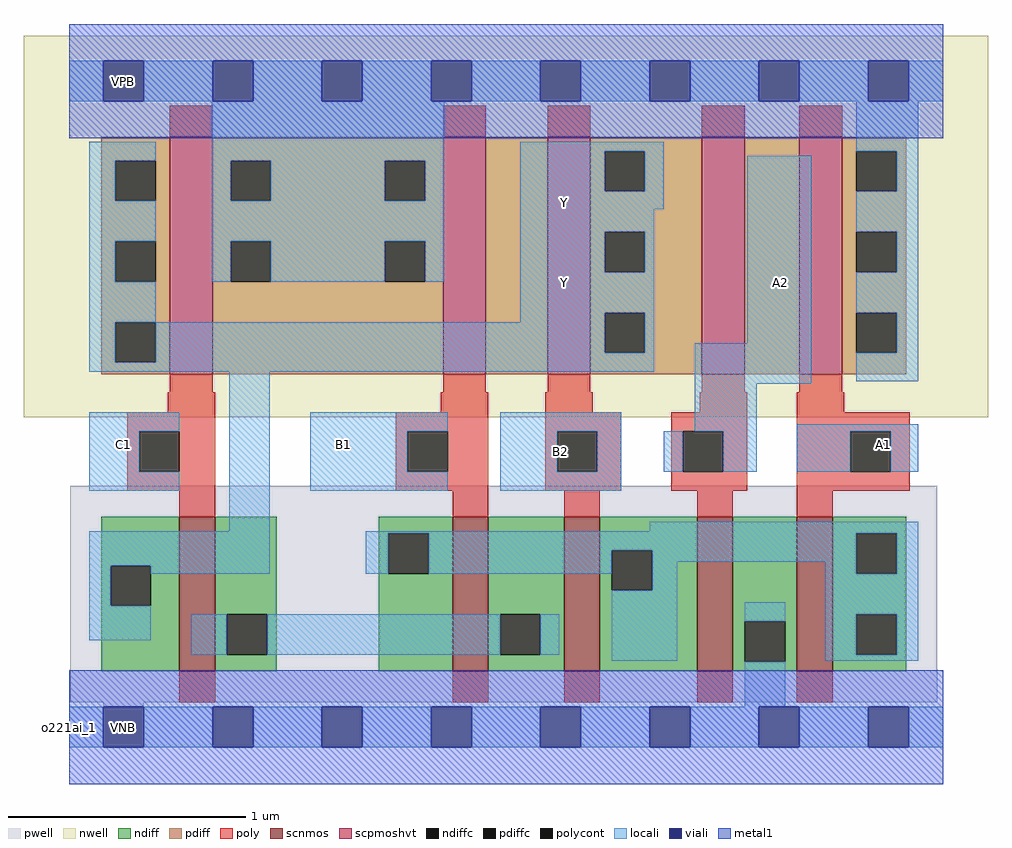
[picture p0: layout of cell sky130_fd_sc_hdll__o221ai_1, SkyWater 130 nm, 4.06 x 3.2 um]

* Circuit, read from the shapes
.subckt sky130_fd_sc_hdll__o221ai_1 A1 A2 B1 B2 C1 VGND VNB VPB VPWR Y
XM1 n1 C1 Y VNB sky130_fd_pr__nfet_01v8 w=0.65 l=0.15
XM2 n1 B1 n2 VNB sky130_fd_pr__nfet_01v8 w=0.65 l=0.15
XM3 n2 B2 n1 VNB sky130_fd_pr__nfet_01v8 w=0.65 l=0.15
XM4 VGND A2 n2 VNB sky130_fd_pr__nfet_01v8 w=0.65 l=0.15
XM5 n2 A1 VGND VNB sky130_fd_pr__nfet_01v8 w=0.65 l=0.15
XM6 VPWR C1 Y VPB sky130_fd_pr__pfet_01v8_hvt w=1 l=0.18
XM7 n3 B1 VPWR VPB sky130_fd_pr__pfet_01v8_hvt w=1 l=0.18
XM8 Y B2 n3 VPB sky130_fd_pr__pfet_01v8_hvt w=1 l=0.18
XM9 n4 A2 Y VPB sky130_fd_pr__pfet_01v8_hvt w=1 l=0.18
XM10 VPWR A1 n4 VPB sky130_fd_pr__pfet_01v8_hvt w=1 l=0.18
.ends

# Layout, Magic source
magic
tech sky130A
magscale 1 2
<< nwell >>
rect -38 261 774 582
<< pwell >>
rect 1 21 731 203
rect 29 -17 63 21
<< scnmos >>
rect 93 47 123 177
rect 323 47 353 177
rect 417 47 447 177
rect 529 47 559 177
rect 613 47 643 177
<< scpmoshvt >>
rect 85 297 121 497
rect 315 297 351 497
rect 403 297 439 497
rect 533 297 569 497
rect 615 297 651 497
<< ndiff >>
rect 27 136 93 177
rect 27 102 35 136
rect 69 102 93 136
rect 27 47 93 102
rect 123 95 175 177
rect 123 61 133 95
rect 167 61 175 95
rect 123 47 175 61
rect 261 163 323 177
rect 261 129 269 163
rect 303 129 323 163
rect 261 47 323 129
rect 353 95 417 177
rect 353 61 363 95
rect 397 61 417 95
rect 353 47 417 61
rect 447 149 529 177
rect 447 115 457 149
rect 491 115 529 149
rect 447 47 529 115
rect 559 89 613 177
rect 559 55 569 89
rect 603 55 613 89
rect 559 47 613 55
rect 643 163 705 177
rect 643 129 663 163
rect 697 129 705 163
rect 643 95 705 129
rect 643 61 663 95
rect 697 61 705 95
rect 643 47 705 61
<< pdiff >>
rect 27 477 85 497
rect 27 443 39 477
rect 73 443 85 477
rect 27 409 85 443
rect 27 375 39 409
rect 73 375 85 409
rect 27 341 85 375
rect 27 307 39 341
rect 73 307 85 341
rect 27 297 85 307
rect 121 477 315 497
rect 121 443 136 477
rect 170 443 266 477
rect 300 443 315 477
rect 121 409 315 443
rect 121 375 136 409
rect 170 375 266 409
rect 300 375 315 409
rect 121 297 315 375
rect 351 297 403 497
rect 439 485 533 497
rect 439 451 451 485
rect 485 451 533 485
rect 439 417 533 451
rect 439 383 451 417
rect 485 383 533 417
rect 439 349 533 383
rect 439 315 451 349
rect 485 315 533 349
rect 439 297 533 315
rect 569 297 615 497
rect 651 485 705 497
rect 651 451 663 485
rect 697 451 705 485
rect 651 417 705 451
rect 651 383 663 417
rect 697 383 705 417
rect 651 349 705 383
rect 651 315 663 349
rect 697 315 705 349
rect 651 297 705 315
<< ndiffc >>
rect 35 102 69 136
rect 133 61 167 95
rect 269 129 303 163
rect 363 61 397 95
rect 457 115 491 149
rect 569 55 603 89
rect 663 129 697 163
rect 663 61 697 95
<< pdiffc >>
rect 39 443 73 477
rect 39 375 73 409
rect 39 307 73 341
rect 136 443 170 477
rect 266 443 300 477
rect 136 375 170 409
rect 266 375 300 409
rect 451 451 485 485
rect 451 383 485 417
rect 451 315 485 349
rect 663 451 697 485
rect 663 383 697 417
rect 663 315 697 349
<< poly >>
rect 85 497 121 523
rect 315 497 351 523
rect 403 497 439 523
rect 533 497 569 523
rect 615 497 651 523
rect 85 282 121 297
rect 315 282 351 297
rect 403 282 439 297
rect 533 282 569 297
rect 615 282 651 297
rect 83 265 123 282
rect 313 265 353 282
rect 49 249 123 265
rect 49 215 59 249
rect 93 215 123 249
rect 49 199 123 215
rect 275 249 353 265
rect 275 215 285 249
rect 319 215 353 249
rect 275 199 353 215
rect 401 265 441 282
rect 531 265 571 282
rect 401 249 465 265
rect 401 215 411 249
rect 445 215 465 249
rect 401 199 465 215
rect 507 249 571 265
rect 507 215 517 249
rect 551 215 571 249
rect 507 199 571 215
rect 613 265 653 282
rect 613 249 708 265
rect 613 215 658 249
rect 692 215 708 249
rect 613 199 708 215
rect 93 177 123 199
rect 323 177 353 199
rect 417 177 447 199
rect 529 177 559 199
rect 613 177 643 199
rect 93 21 123 47
rect 323 21 353 47
rect 417 21 447 47
rect 529 21 559 47
rect 613 21 643 47
<< polycont >>
rect 59 215 93 249
rect 285 215 319 249
rect 411 215 445 249
rect 517 215 551 249
rect 658 215 692 249
<< locali >>
rect 0 527 29 561
rect 63 527 121 561
rect 155 527 213 561
rect 247 527 305 561
rect 339 527 397 561
rect 431 527 489 561
rect 523 527 581 561
rect 615 527 673 561
rect 707 527 736 561
rect 17 477 73 493
rect 17 443 39 477
rect 17 409 73 443
rect 17 375 39 409
rect 120 477 316 527
rect 120 443 136 477
rect 170 443 266 477
rect 300 443 316 477
rect 120 409 316 443
rect 120 375 136 409
rect 170 375 266 409
rect 300 375 316 409
rect 380 485 501 493
rect 380 451 451 485
rect 485 451 501 485
rect 663 485 715 527
rect 380 436 501 451
rect 380 417 493 436
rect 380 383 451 417
rect 485 383 493 417
rect 17 341 73 375
rect 380 349 493 383
rect 380 341 451 349
rect 17 307 39 341
rect 73 315 451 341
rect 485 315 493 349
rect 571 323 625 481
rect 73 307 493 315
rect 17 299 493 307
rect 17 249 93 265
rect 17 215 59 249
rect 17 199 93 215
rect 135 165 169 299
rect 527 289 625 323
rect 697 451 715 485
rect 663 417 715 451
rect 697 383 715 417
rect 663 349 715 383
rect 697 315 715 349
rect 663 291 715 315
rect 203 249 319 265
rect 203 215 285 249
rect 203 199 319 215
rect 363 249 465 265
rect 527 249 579 289
rect 363 215 411 249
rect 445 215 465 249
rect 501 215 517 249
rect 551 215 579 249
rect 613 249 715 255
rect 613 215 658 249
rect 692 215 715 249
rect 363 199 465 215
rect 489 165 715 173
rect 17 136 169 165
rect 17 102 35 136
rect 69 129 169 136
rect 250 163 715 165
rect 250 129 269 163
rect 303 149 663 163
rect 303 129 457 149
rect 17 73 69 102
rect 491 139 663 149
rect 491 115 512 139
rect 103 61 133 95
rect 167 61 363 95
rect 397 61 413 95
rect 457 56 512 115
rect 637 129 663 139
rect 697 129 715 163
rect 569 89 603 105
rect 637 95 715 129
rect 637 61 663 95
rect 697 61 715 95
rect 637 56 715 61
rect 569 17 603 55
rect 0 -17 29 17
rect 63 -17 121 17
rect 155 -17 213 17
rect 247 -17 305 17
rect 339 -17 397 17
rect 431 -17 489 17
rect 523 -17 581 17
rect 615 -17 673 17
rect 707 -17 736 17
<< viali >>
rect 29 527 63 561
rect 121 527 155 561
rect 213 527 247 561
rect 305 527 339 561
rect 397 527 431 561
rect 489 527 523 561
rect 581 527 615 561
rect 673 527 707 561
rect 29 -17 63 17
rect 121 -17 155 17
rect 213 -17 247 17
rect 305 -17 339 17
rect 397 -17 431 17
rect 489 -17 523 17
rect 581 -17 615 17
rect 673 -17 707 17
<< metal1 >>
rect 0 561 736 592
rect 0 527 29 561
rect 63 527 121 561
rect 155 527 213 561
rect 247 527 305 561
rect 339 527 397 561
rect 431 527 489 561
rect 523 527 581 561
rect 615 527 673 561
rect 707 527 736 561
rect 0 496 736 527
rect 0 17 736 48
rect 0 -17 29 17
rect 63 -17 121 17
rect 155 -17 213 17
rect 247 -17 305 17
rect 339 -17 397 17
rect 431 -17 489 17
rect 523 -17 581 17
rect 615 -17 673 17
rect 707 -17 736 17
rect 0 -48 736 -17
<< labels >>
flabel locali s 582 357 616 391 0 FreeSans 400 0 0 0 A2
port 2 nsew signal input
flabel locali s 400 425 434 459 0 FreeSans 400 0 0 0 Y
port 10 nsew signal output
flabel locali s 214 221 248 255 0 FreeSans 400 0 0 0 B1
port 3 nsew signal input
flabel locali s 29 221 63 255 0 FreeSans 400 0 0 0 C1
port 5 nsew signal input
flabel locali s 669 221 703 255 0 FreeSans 400 0 0 0 A1
port 1 nsew signal input
flabel locali s 400 357 434 391 0 FreeSans 400 0 0 0 Y
port 10 nsew signal output
flabel locali s 363 199 465 265 0 FreeSans 400 0 0 0 B2
port 4 nsew signal input
flabel nwell s 29 527 63 561 0 FreeSans 200 0 0 0 VPB
port 8 nsew power bidirectional
flabel pwell s 29 -17 63 17 0 FreeSans 200 0 0 0 VNB
port 7 nsew ground bidirectional
flabel metal1 s 29 -17 63 17 0 FreeSans 200 0 0 0 VGND
port 6 nsew ground bidirectional
flabel metal1 s 29 527 63 561 0 FreeSans 200 0 0 0 VPWR
port 9 nsew power bidirectional
rlabel comment s 0 0 0 0 4 o221ai_1
<< properties >>
string LEFsite unithd
string LEFclass CORE
string FIXED_BBOX 0 0 736 544
string GDS_FILE $PDKPATH/libs.ref/sky130_fd_sc_hdll/gds/sky130_fd_sc_hdll.gds
string LEFsymmetry X Y R90
string GDS_END 2509968
string GDS_START 2503408
string LEFproperties maskLayoutSubType "abstract" prCellType "standard" originalViewName "layout"
<< end >>
